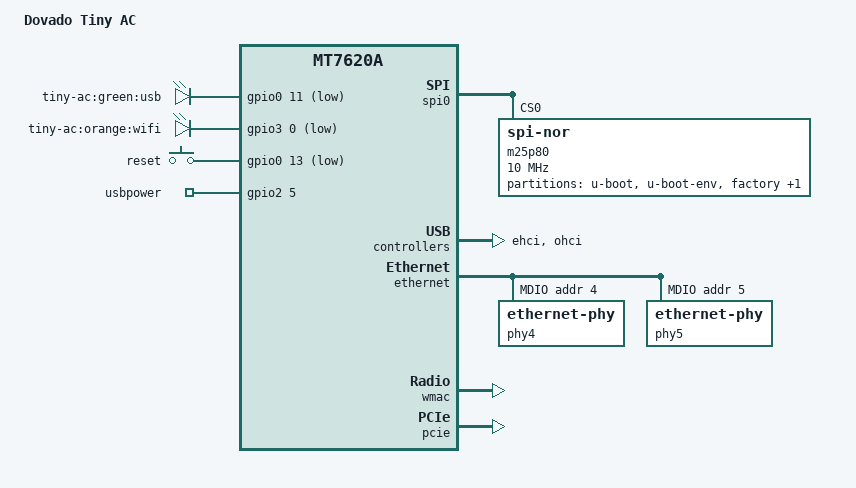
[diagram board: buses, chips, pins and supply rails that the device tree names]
/dts-v1/;

#include "mt7620a.dtsi"

/ {
	compatible = "TINY-AC", "ralink,mt7620a-soc";
	model = "Dovado Tiny AC";

	chosen {
		bootargs = "console=ttyS0,57600";
	};

	gpio-leds {
		compatible = "gpio-leds";

		usb {
			label = "tiny-ac:green:usb";
			gpios = <&gpio0 11 1>;
		};

		wifi {
			label = "tiny-ac:orange:wifi";
			gpios = <&gpio3 0 1>;
		};

	};

	gpio-keys-polled {
		compatible = "gpio-keys-polled";
		#address-cells = <1>;
		#size-cells = <0>;
		poll-interval = <20>;

		reset {
			label = "reset";
			gpios = <&gpio0 13 1>;
			linux,code = <0x198>;
		};

	};

	gpio_export {
		compatible = "gpio-export";
		#size-cells = <0>;

		usbpower {
			gpio-export,name = "usbpower";
			gpio-export,output = <1>;
			gpios = <&gpio2 5 0>;
		};
	};
};

&gpio0 {
	status = "okay";
};

&gpio2 {
	status = "okay";
};

&gpio3 {
	status = "okay";
};

&spi0 {
	status = "okay";

	m25p80@0 {
		#address-cells = <1>;
		#size-cells = <1>;
		compatible = "jedec,spi-nor";
		reg = <0>;
		linux,modalias = "m25p80", "mx25l6405d";
		spi-max-frequency = <10000000>;

		partition@0 {
			label = "u-boot";
			reg = <0x0 0x30000>;
			read-only;
		};

		partition@30000 {
			label = "u-boot-env";
			reg = <0x30000 0x10000>;
			read-only;
		};

		factory: partition@40000 {
			label = "factory";
			reg = <0x40000 0x10000>;
			read-only;
		};

		partition@50000 {
			label = "firmware";
			reg = <0x50000 0x7b0000>;
		};
	};
};

&ehci {
	status = "okay";
};

&ohci {
	status = "okay";
};

&ethernet {
	status = "okay";
	pinctrl-names = "default";
	pinctrl-0 = <&rgmii1_pins &rgmii2_pins &mdio_pins>;
	mediatek,portmap = "llllw";

	port@4 {
		status = "okay";
		phy-mode = "rgmii";
		phy-handle = <&phy4>;
	};

	port@5 {
		status = "okay";
		phy-mode = "rgmii";
		phy-handle = <&phy5>;
	};

	mdio-bus {
		status = "okay";

		phy4: ethernet-phy@4 {
			reg = <4>;
			phy-mode = "rgmii";
		};

		phy5: ethernet-phy@5 {
			reg = <5>;
			phy-mode = "rgmii";
		};
	};
};

&gsw {
	mediatek,port4 = "gmac";
	mediatek,mt7530 = <1>;
};

&wmac {
	ralink,eeprom = "rt2x00pci_1_0.eeprom";
};

&pcie {
	status = "okay";
};

&pinctrl {
	state_default: pinctrl0 {
		gpio {
			ralink,group = "uartf", "nd_sd", "wled";
			ralink,function = "gpio";
		};
	};
};
